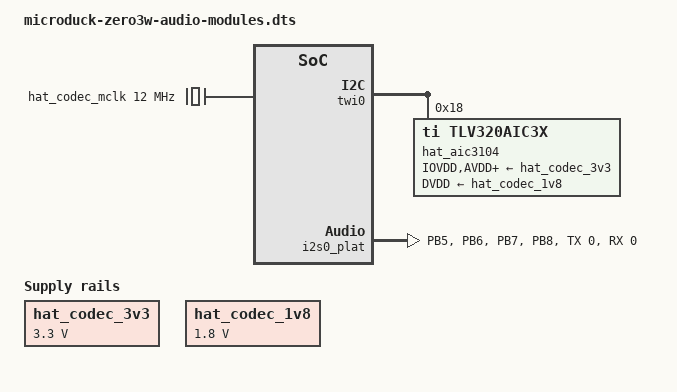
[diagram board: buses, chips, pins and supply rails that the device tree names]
// SPDX-License-Identifier: GPL-2.0-or-later
/dts-v1/;
/plugin/;

/* Requires the matching standalone machine and AIC3x I2C modules.
 * CPU generates BCLK/LRCK; HAT supplies its codec's independent 12 MHz MCLK.
 * Generic aic3x compatible preserves kissqy's existing mixer control names.
 */
&{/} {
    hat_codec_mclk: hat-codec-mclk {
        compatible = "fixed-clock";
        #clock-cells = <0>;
        clock-frequency = <12000000>;
    };
    hat_codec_3v3: hat-codec-3v3 {
        compatible = "regulator-fixed";
        regulator-name = "hat-codec-3v3";
        regulator-min-microvolt = <3300000>;
        regulator-max-microvolt = <3300000>;
        regulator-always-on;
    };
    hat_codec_1v8: hat-codec-1v8 {
        compatible = "regulator-fixed";
        regulator-name = "hat-codec-1v8";
        regulator-min-microvolt = <1800000>;
        regulator-max-microvolt = <1800000>;
        regulator-always-on;
    };
    microduck_sound: microduck-aic3104 {
        compatible = "microduck,zero3w-aic3104";
        soundcard-mach,name = "aic3104";
        soundcard-mach,format = "i2s";
        soundcard-mach,bitclock-master = <&microduck_cpu>;
        soundcard-mach,frame-master = <&microduck_cpu>;
        soundcard-mach,slot-num = <2>;
        soundcard-mach,slot-width = <32>;
        status = "okay";
        microduck_cpu: soundcard-mach,cpu {
            sound-dai = <&i2s0_plat>;
            soundcard-mach,pll-fs = <1>;
            /* Disable CPU MCLK output; PB4 remains free in both states. */
            soundcard-mach,mclk-fs = <0>;
        };
        soundcard-mach,codec {
            sound-dai = <&hat_aic3104>;
            /* These two opt-in properties require the candidate patch. */
            soundcard-mach,sysclk-frequency = <12000000>;
            soundcard-mach,skip-tdm;
        };
    };
};

&twi0 {
    #address-cells = <1>;
    #size-cells = <0>;
    hat_aic3104: codec@18 {
        compatible = "ti,tlv320aic3x";
        reg = <0x18>;
        #sound-dai-cells = <0>;
        clocks = <&hat_codec_mclk>;
        IOVDD-supply = <&hat_codec_3v3>;
        AVDD-supply = <&hat_codec_3v3>;
        DRVDD-supply = <&hat_codec_3v3>;
        DVDD-supply = <&hat_codec_1v8>;
        status = "okay";
    };
};

&pio {
    hat_i2s0_pins: hat-i2s0-pins {
        pins = "PB5", "PB6", "PB7", "PB8";
        function = "gpio_in";
    };
    hat_i2s0_bclk: hat-i2s0-bclk {
        pins = "PB5";
        function = "i2s0_bclk";
        drive-strength = <10>;
        bias-disable;
    };
    hat_i2s0_lrck: hat-i2s0-lrck {
        pins = "PB6";
        function = "i2s0_lrck";
        drive-strength = <10>;
        bias-disable;
    };
    hat_i2s0_dout: hat-i2s0-dout {
        pins = "PB7";
        function = "i2s0_dout0";
        drive-strength = <10>;
        bias-disable;
    };
    hat_i2s0_din: hat-i2s0-din {
        pins = "PB8";
        function = "i2s0_din0";
        bias-disable;
    };
};

&i2s0_plat {
    tdm-num = <0>;
    tx-pin = <0>;
    rx-pin = <0>;
    pinctrl-used;
    pinctrl-names = "default", "sleep";
    pinctrl-0 = <&hat_i2s0_bclk &hat_i2s0_lrck &hat_i2s0_dout &hat_i2s0_din>;
    pinctrl-1 = <&hat_i2s0_pins>;
    status = "okay";
};
&i2s0_mach { status = "disabled"; };
&ac101 { status = "disabled"; };

/* Reserve PB7/PB8 for I2S, not the alternate TWI1 function. */
&twi1 { status = "disabled"; };
